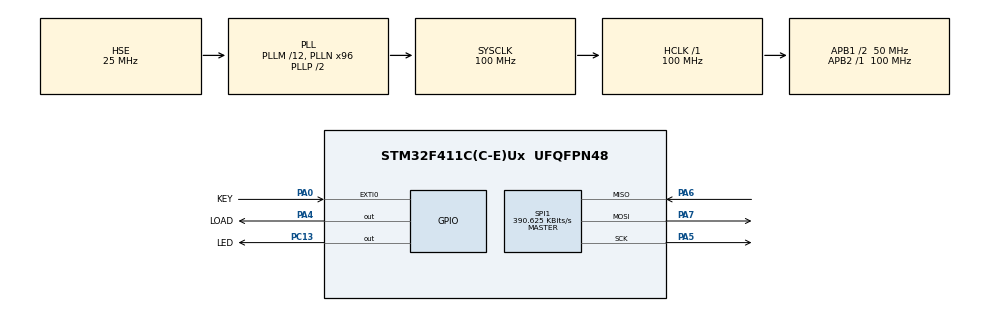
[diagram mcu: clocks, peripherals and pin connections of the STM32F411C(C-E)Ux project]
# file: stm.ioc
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Mcu.Family=STM32F4
Mcu.Name=STM32F411C(C-E)Ux
Mcu.Package=UFQFPN48
NVIC.EXTI0_IRQn=true\:0\:0\:false\:false\:true\:true\:true\:true
NVIC.PriorityGroup=NVIC_PRIORITYGROUP_4
PA0-WKUP.GPIO_Label=KEY
PA0-WKUP.GPIO_ModeDefaultEXTI=GPIO_MODE_IT_RISING
PA0-WKUP.GPIO_PuPd=GPIO_PULLUP
PA0-WKUP.Signal=GPXTI0
PA13.Mode=Serial_Wire
PA13.Signal=SYS_JTMS-SWDIO
PA14.Mode=Serial_Wire
PA14.Signal=SYS_JTCK-SWCLK
PA4.GPIO_Label=LOAD
PA4.Signal=GPIO_Output
PA5.Mode=Full_Duplex_Master
PA5.Signal=SPI1_SCK
PA6.Mode=Full_Duplex_Master
PA6.Signal=SPI1_MISO
PA7.Mode=Full_Duplex_Master
PA7.Signal=SPI1_MOSI
PC13-ANTI_TAMP.GPIO_Label=LED
PC13-ANTI_TAMP.Signal=GPIO_Output
PC14-OSC32_IN.Mode=LSE-External-Oscillator
PC14-OSC32_IN.Signal=RCC_OSC32_IN
PC15-OSC32_OUT.Mode=LSE-External-Oscillator
PC15-OSC32_OUT.Signal=RCC_OSC32_OUT
PH0\ -\ OSC_IN.Mode=HSE-External-Oscillator
PH0\ -\ OSC_IN.Signal=RCC_OSC_IN
PH1\ -\ OSC_OUT.Mode=HSE-External-Oscillator
PH1\ -\ OSC_OUT.Signal=RCC_OSC_OUT
ProjectManager.HeapSize=0x200
ProjectManager.StackSize=0x400
ProjectManager.TargetToolchain=Makefile
RCC.48MHZClocksFreq_Value=50000000
RCC.AHBFreq_Value=100000000
RCC.APB1CLKDivider=RCC_HCLK_DIV2
RCC.APB1Freq_Value=50000000
RCC.APB1TimFreq_Value=100000000
RCC.APB2Freq_Value=100000000
RCC.APB2TimFreq_Value=100000000
RCC.CortexFreq_Value=100000000
RCC.HCLKFreq_Value=100000000
RCC.HSE_VALUE=25000000
RCC.HSI_VALUE=16000000
RCC.PLLM=12
RCC.PLLN=96
RCC.PLLSourceVirtual=RCC_PLLSOURCE_HSE
RCC.SYSCLKFreq_VALUE=100000000
RCC.SYSCLKSource=RCC_SYSCLKSOURCE_PLLCLK
RCC.VCOOutputFreq_Value=200000000
SPI1.BaudRatePrescaler=SPI_BAUDRATEPRESCALER_256
SPI1.CalculateBaudRate=390.625 KBits/s
SPI1.DataSize=SPI_DATASIZE_16BIT
SPI1.Direction=SPI_DIRECTION_2LINES
SPI1.Mode=SPI_MODE_MASTER
SPI1.VirtualType=VM_MASTER
board=custom

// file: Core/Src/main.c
/* USER CODE BEGIN Header */
/**
 ******************************************************************************
 * @file           : main.c
 * @brief          : Main program body
 ******************************************************************************
 * @attention
 *
 * Copyright (c) 2024 STMicroelectronics.
 * All rights reserved.
 *
 * This software is licensed under terms that can be found in the LICENSE file
 * in the root directory of this software component.
 * If no LICENSE file comes with this software, it is provided AS-IS.
 *
 ******************************************************************************
 */
/* USER CODE END Header */
#include "main.h"

/* USER CODE BEGIN Includes */
#include "MAX7219.h"
#include "stm32f4xx_hal.h"
#include "stm32f4xx_hal_gpio.h"
#include <stdint.h>

/* USER CODE END Includes */

SPI_HandleTypeDef hspi1;

void SystemClock_Config(void);
static void MX_GPIO_Init(void);
static void MX_SPI1_Init(void);

/* USER CODE BEGIN 0 */
// standard ASCII 5x7 font

// Each five successive bytes represent the 5 columns.
// i.e. the character represented by N starts at offset 5*N

// Least significant bit in each column is the physically highest pixel (top
// line). The spare 8th bit has been filled in on some characters (but not
// necessarily all characters that might need it) to provide slightly better
// descenders on a 5x8 display.

static const uint8_t font[] = {
    0x00, 0x00, 0x00, 0x00, 0x00, 0x3E, 0x5B, 0x4F, 0x5B, 0x3E, 0x3E, 0x6B,
    0x4F, 0x6B, 0x3E, 0x1C, 0x3E, 0x7C, 0x3E, 0x1C, 0x18, 0x3C, 0x7E, 0x3C,
    0x18, 0x1C, 0x57, 0x7D, 0x57, 0x1C, 0x1C, 0x5E, 0x7F, 0x5E, 0x1C, 0x00,
    0x18, 0x3C, 0x18, 0x00, 0xFF, 0xE7, 0xC3, 0xE7, 0xFF, 0x00, 0x18, 0x24,
    0x18, 0x00, 0xFF, 0xE7, 0xDB, 0xE7, 0xFF, 0x30, 0x48, 0x3A, 0x06, 0x0E,
    0x26, 0x29, 0x79, 0x29, 0x26, 0x40, 0x7F, 0x05, 0x05, 0x07, 0x40, 0x7F,
    0x05, 0x25, 0x3F, 0x5A, 0x3C, 0xE7, 0x3C, 0x5A, 0x7F, 0x3E, 0x1C, 0x1C,
    0x08, 0x08, 0x1C, 0x1C, 0x3E, 0x7F, 0x14, 0x22, 0x7F, 0x22, 0x14, 0x5F,
    0x5F, 0x00, 0x5F, 0x5F, 0x06, 0x09, 0x7F, 0x01, 0x7F, 0x00, 0x66, 0x89,
    0x95, 0x6A, 0x60, 0x60, 0x60, 0x60, 0x60, 0x94, 0xA2, 0xFF, 0xA2, 0x94,
    0x08, 0x04, 0x7E, 0x04, 0x08, 0x10, 0x20, 0x7E, 0x20, 0x10, 0x08, 0x08,
    0x2A, 0x1C, 0x08, 0x08, 0x1C, 0x2A, 0x08, 0x08, 0x1E, 0x10, 0x10, 0x10,
    0x10, 0x0C, 0x1E, 0x0C, 0x1E, 0x0C, 0x30, 0x38, 0x3E, 0x38, 0x30, 0x06,
    0x0E, 0x3E, 0x0E, 0x06, 0x00, 0x00, 0x00, 0x00, 0x00, // Space
    0x00, 0x00, 0x5F, 0x00, 0x00, 0x00, 0x07, 0x00, 0x07, 0x00, 0x14, 0x7F,
    0x14, 0x7F, 0x14, 0x24, 0x2A, 0x7F, 0x2A, 0x12, 0x23, 0x13, 0x08, 0x64,
    0x62, 0x36, 0x49, 0x56, 0x20, 0x50, 0x00, 0x08, 0x07, 0x03, 0x00, 0x00,
    0x1C, 0x22, 0x41, 0x00, 0x00, 0x41, 0x22, 0x1C, 0x00, 0x2A, 0x1C, 0x7F,
    0x1C, 0x2A, 0x08, 0x08, 0x3E, 0x08, 0x08, 0x00, 0x80, 0x70, 0x30, 0x00,
    0x08, 0x08, 0x08, 0x08, 0x08, 0x00, 0x00, 0x60, 0x60, 0x00, 0x20, 0x10,
    0x08, 0x04, 0x02, 0x3E, 0x51, 0x49, 0x45, 0x3E, 0x00, 0x42, 0x7F, 0x40,
    0x00, 0x72, 0x49, 0x49, 0x49, 0x46, 0x21, 0x41, 0x49, 0x4D, 0x33, 0x18,
    0x14, 0x12, 0x7F, 0x10, 0x27, 0x45, 0x45, 0x45, 0x39, 0x3C, 0x4A, 0x49,
    0x49, 0x31, 0x41, 0x21, 0x11, 0x09, 0x07, 0x36, 0x49, 0x49, 0x49, 0x36,
    0x46, 0x49, 0x49, 0x29, 0x1E, 0x00, 0x00, 0x14, 0x00, 0x00, 0x00, 0x40,
    0x34, 0x00, 0x00, 0x00, 0x08, 0x14, 0x22, 0x41, 0x14, 0x14, 0x14, 0x14,
    0x14, 0x00, 0x41, 0x22, 0x14, 0x08, 0x02, 0x01, 0x59, 0x09, 0x06, 0x3E,
    0x41, 0x5D, 0x59, 0x4E, 0x7C, 0x12, 0x11, 0x12, 0x7C, 0x7F, 0x49, 0x49,
    0x49, 0x36, 0x3E, 0x41, 0x41, 0x41, 0x22, 0x7F, 0x41, 0x41, 0x41, 0x3E,
    0x7F, 0x49, 0x49, 0x49, 0x41, 0x7F, 0x09, 0x09, 0x09, 0x01, 0x3E, 0x41,
    0x41, 0x51, 0x73, 0x7F, 0x08, 0x08, 0x08, 0x7F, 0x00, 0x41, 0x7F, 0x41,
    0x00, 0x20, 0x40, 0x41, 0x3F, 0x01, 0x7F, 0x08, 0x14, 0x22, 0x41, 0x7F,
    0x40, 0x40, 0x40, 0x40, 0x7F, 0x02, 0x1C, 0x02, 0x7F, 0x7F, 0x04, 0x08,
    0x10, 0x7F, 0x3E, 0x41, 0x41, 0x41, 0x3E, 0x7F, 0x09, 0x09, 0x09, 0x06,
    0x3E, 0x41, 0x51, 0x21, 0x5E, 0x7F, 0x09, 0x19, 0x29, 0x46, 0x26, 0x49,
    0x49, 0x49, 0x32, 0x03, 0x01, 0x7F, 0x01, 0x03, 0x3F, 0x40, 0x40, 0x40,
    0x3F, 0x1F, 0x20, 0x40, 0x20, 0x1F, 0x3F, 0x40, 0x38, 0x40, 0x3F, 0x63,
    0x14, 0x08, 0x14, 0x63, 0x03, 0x04, 0x78, 0x04, 0x03, 0x61, 0x59, 0x49,
    0x4D, 0x43, 0x00, 0x7F, 0x41, 0x41, 0x41, 0x02, 0x04, 0x08, 0x10, 0x20,
    0x00, 0x41, 0x41, 0x41, 0x7F, 0x04, 0x02, 0x01, 0x02, 0x04, 0x40, 0x40,
    0x40, 0x40, 0x40, 0x00, 0x03, 0x07, 0x08, 0x00, 0x20, 0x54, 0x54, 0x78,
    0x40, 0x7F, 0x28, 0x44, 0x44, 0x38, 0x38, 0x44, 0x44, 0x44, 0x28, 0x38,
    0x44, 0x44, 0x28, 0x7F, 0x38, 0x54, 0x54, 0x54, 0x18, 0x00, 0x08, 0x7E,
    0x09, 0x02, 0x18, 0xA4, 0xA4, 0x9C, 0x78, 0x7F, 0x08, 0x04, 0x04, 0x78,
    0x00, 0x44, 0x7D, 0x40, 0x00, 0x20, 0x40, 0x40, 0x3D, 0x00, 0x7F, 0x10,
    0x28, 0x44, 0x00, 0x00, 0x41, 0x7F, 0x40, 0x00, 0x7C, 0x04, 0x78, 0x04,
    0x78, 0x7C, 0x08, 0x04, 0x04, 0x78, 0x38, 0x44, 0x44, 0x44, 0x38, 0xFC,
    0x18, 0x24, 0x24, 0x18, 0x18, 0x24, 0x24, 0x18, 0xFC, 0x7C, 0x08, 0x04,
    0x04, 0x08, 0x48, 0x54, 0x54, 0x54, 0x24, 0x04, 0x04, 0x3F, 0x44, 0x24,
    0x3C, 0x40, 0x40, 0x20, 0x7C, 0x1C, 0x20, 0x40, 0x20, 0x1C, 0x3C, 0x40,
    0x30, 0x40, 0x3C, 0x44, 0x28, 0x10, 0x28, 0x44, 0x4C, 0x90, 0x90, 0x90,
    0x7C, 0x44, 0x64, 0x54, 0x4C, 0x44, 0x00, 0x08, 0x36, 0x41, 0x00, 0x00,
    0x00, 0x77, 0x00, 0x00, 0x00, 0x41, 0x36, 0x08, 0x00, 0x02, 0x01, 0x02,
    0x04, 0x02, 0x3C, 0x26, 0x23, 0x26, 0x3C, 0x1E, 0xA1, 0xA1, 0x61, 0x12,
    0x3A, 0x40, 0x40, 0x20, 0x7A, 0x38, 0x54, 0x54, 0x55, 0x59, 0x21, 0x55,
    0x55, 0x79, 0x41, 0x21, 0x54, 0x54, 0x78, 0x41, 0x21, 0x55, 0x54, 0x78,
    0x40, 0x20, 0x54, 0x55, 0x79, 0x40, 0x0C, 0x1E, 0x52, 0x72, 0x12, 0x39,
    0x55, 0x55, 0x55, 0x59, 0x39, 0x54, 0x54, 0x54, 0x59, 0x39, 0x55, 0x54,
    0x54, 0x58, 0x00, 0x00, 0x45, 0x7C, 0x41, 0x00, 0x02, 0x45, 0x7D, 0x42,
    0x00, 0x01, 0x45, 0x7C, 0x40, 0xF0, 0x29, 0x24, 0x29, 0xF0, 0xF0, 0x28,
    0x25, 0x28, 0xF0, 0x7C, 0x54, 0x55, 0x45, 0x00, 0x20, 0x54, 0x54, 0x7C,
    0x54, 0x7C, 0x0A, 0x09, 0x7F, 0x49, 0x32, 0x49, 0x49, 0x49, 0x32, 0x32,
    0x48, 0x48, 0x48, 0x32, 0x32, 0x4A, 0x48, 0x48, 0x30, 0x3A, 0x41, 0x41,
    0x21, 0x7A, 0x3A, 0x42, 0x40, 0x20, 0x78, 0x00, 0x9D, 0xA0, 0xA0, 0x7D,
    0x39, 0x44, 0x44, 0x44, 0x39, 0x3D, 0x40, 0x40, 0x40, 0x3D, 0x3C, 0x24,
    0xFF, 0x24, 0x24, 0x48, 0x7E, 0x49, 0x43, 0x66, 0x2B, 0x2F, 0xFC, 0x2F,
    0x2B, 0xFF, 0x09, 0x29, 0xF6, 0x20, 0xC0, 0x88, 0x7E, 0x09, 0x03, 0x20,
    0x54, 0x54, 0x79, 0x41, 0x00, 0x00, 0x44, 0x7D, 0x41, 0x30, 0x48, 0x48,
    0x4A, 0x32, 0x38, 0x40, 0x40, 0x22, 0x7A, 0x00, 0x7A, 0x0A, 0x0A, 0x72,
    0x7D, 0x0D, 0x19, 0x31, 0x7D, 0x26, 0x29, 0x29, 0x2F, 0x28, 0x26, 0x29,
    0x29, 0x29, 0x26, 0x30, 0x48, 0x4D, 0x40, 0x20, 0x38, 0x08, 0x08, 0x08,
    0x08, 0x08, 0x08, 0x08, 0x08, 0x38, 0x2F, 0x10, 0xC8, 0xAC, 0xBA, 0x2F,
    0x10, 0x28, 0x34, 0xFA, 0x00, 0x00, 0x7B, 0x00, 0x00, 0x08, 0x14, 0x2A,
    0x14, 0x22, 0x22, 0x14, 0x2A, 0x14, 0x08, 0xAA, 0x00, 0x55, 0x00, 0xAA,
    0xAA, 0x55, 0xAA, 0x55, 0xAA, 0x00, 0x00, 0x00, 0xFF, 0x00, 0x10, 0x10,
    0x10, 0xFF, 0x00, 0x14, 0x14, 0x14, 0xFF, 0x00, 0x10, 0x10, 0xFF, 0x00,
    0xFF, 0x10, 0x10, 0xF0, 0x10, 0xF0, 0x14, 0x14, 0x14, 0xFC, 0x00, 0x14,
    0x14, 0xF7, 0x00, 0xFF, 0x00, 0x00, 0xFF, 0x00, 0xFF, 0x14, 0x14, 0xF4,
    0x04, 0xFC, 0x14, 0x14, 0x17, 0x10, 0x1F, 0x10, 0x10, 0x1F, 0x10, 0x1F,
    0x14, 0x14, 0x14, 0x1F, 0x00, 0x10, 0x10, 0x10, 0xF0, 0x00, 0x00, 0x00,
    0x00, 0x1F, 0x10, 0x10, 0x10, 0x10, 0x1F, 0x10, 0x10, 0x10, 0x10, 0xF0,
    0x10, 0x00, 0x00, 0x00, 0xFF, 0x10, 0x10, 0x10, 0x10, 0x10, 0x10, 0x10,
    0x10, 0x10, 0xFF, 0x10, 0x00, 0x00, 0x00, 0xFF, 0x14, 0x00, 0x00, 0xFF,
    0x00, 0xFF, 0x00, 0x00, 0x1F, 0x10, 0x17, 0x00, 0x00, 0xFC, 0x04, 0xF4,
    0x14, 0x14, 0x17, 0x10, 0x17, 0x14, 0x14, 0xF4, 0x04, 0xF4, 0x00, 0x00,
    0xFF, 0x00, 0xF7, 0x14, 0x14, 0x14, 0x14, 0x14, 0x14, 0x14, 0xF7, 0x00,
    0xF7, 0x14, 0x14, 0x14, 0x17, 0x14, 0x10, 0x10, 0x1F, 0x10, 0x1F, 0x14,
    0x14, 0x14, 0xF4, 0x14, 0x10, 0x10, 0xF0, 0x10, 0xF0, 0x00, 0x00, 0x1F,
    0x10, 0x1F, 0x00, 0x00, 0x00, 0x1F, 0x14, 0x00, 0x00, 0x00, 0xFC, 0x14,
    0x00, 0x00, 0xF0, 0x10, 0xF0, 0x10, 0x10, 0xFF, 0x10, 0xFF, 0x14, 0x14,
    0x14, 0xFF, 0x14, 0x10, 0x10, 0x10, 0x1F, 0x00, 0x00, 0x00, 0x00, 0xF0,
    0x10, 0xFF, 0xFF, 0xFF, 0xFF, 0xFF, 0xF0, 0xF0, 0xF0, 0xF0, 0xF0, 0xFF,
    0xFF, 0xFF, 0x00, 0x00, 0x00, 0x00, 0x00, 0xFF, 0xFF, 0x0F, 0x0F, 0x0F,
    0x0F, 0x0F, 0x38, 0x44, 0x44, 0x38, 0x44, 0x7C, 0x2A, 0x2A, 0x3E, 0x14,
    0x7E, 0x02, 0x02, 0x06, 0x06, 0x02, 0x7E, 0x02, 0x7E, 0x02, 0x63, 0x55,
    0x49, 0x41, 0x63, 0x38, 0x44, 0x44, 0x3C, 0x04, 0x40, 0x7E, 0x20, 0x1E,
    0x20, 0x06, 0x02, 0x7E, 0x02, 0x02, 0x99, 0xA5, 0xE7, 0xA5, 0x99, 0x1C,
    0x2A, 0x49, 0x2A, 0x1C, 0x4C, 0x72, 0x01, 0x72, 0x4C, 0x30, 0x4A, 0x4D,
    0x4D, 0x30, 0x30, 0x48, 0x78, 0x48, 0x30, 0xBC, 0x62, 0x5A, 0x46, 0x3D,
    0x3E, 0x49, 0x49, 0x49, 0x00, 0x7E, 0x01, 0x01, 0x01, 0x7E, 0x2A, 0x2A,
    0x2A, 0x2A, 0x2A, 0x44, 0x44, 0x5F, 0x44, 0x44, 0x40, 0x51, 0x4A, 0x44,
    0x40, 0x40, 0x44, 0x4A, 0x51, 0x40, 0x00, 0x00, 0xFF, 0x01, 0x03, 0xE0,
    0x80, 0xFF, 0x00, 0x00, 0x08, 0x08, 0x6B, 0x6B, 0x08, 0x36, 0x12, 0x36,
    0x24, 0x36, 0x06, 0x0F, 0x09, 0x0F, 0x06, 0x00, 0x00, 0x18, 0x18, 0x00,
    0x00, 0x00, 0x10, 0x10, 0x00, 0x30, 0x40, 0xFF, 0x01, 0x01, 0x00, 0x1F,
    0x01, 0x01, 0x1E, 0x00, 0x19, 0x1D, 0x17, 0x12, 0x00, 0x3C, 0x3C, 0x3C,
    0x3C, 0x00, 0x00, 0x00, 0x00, 0x00,
};

void show_char(char c) {
  set_leds(0, font[c * 5]);
  set_leds(1, font[c * 5 + 1]);
  set_leds(2, font[c * 5 + 2]);
  set_leds(3, font[c * 5 + 3]);
  set_leds(4, font[c * 5 + 4]);
}

void set_screen(uint8_t *db) {
  set_leds(0, db[0]);
  set_leds(1, db[1]);
  set_leds(2, db[2]);
  set_leds(3, db[3]);
  set_leds(4, db[4]);
  set_leds(5, db[5]);
  set_leds(6, db[6]);
  set_leds(7, db[7]);
}
#define SIZE_OF_DB 20
void shift_buffer(uint8_t *db) { memcpy(db, db + 1, SIZE_OF_DB - 1); }

uint8_t fo[] = {"  Fuck off.  \0"};
uint8_t time[] = {"  Is this the best use of my time right now?  \0"};
uint8_t offon[] = {"  Have you tried turning it off and on again?  \0"};

uint8_t *msgs[] = {time, offon, fo};

uint8_t _msg_id = 0;

void HAL_GPIO_EXTI_Callback(uint16_t GPIO_Pin) {
  HAL_GPIO_TogglePin(LED_GPIO_Port, LED_Pin);
  _msg_id++;
  _msg_id %= 3;
}
/* USER CODE END 0 */

int main(void) {
  /* USER CODE BEGIN 1 */
  uint8_t msg_id = 0;
  /* USER CODE END 1 */

  /* MCU Configuration--------------------------------------------------------*/

  /* Reset of all peripherals, Initializes the Flash interface and the Systick.
   */
  HAL_Init();

  /* Configure the system clock */
  SystemClock_Config();

  /* Initialize all configured peripherals */
  MX_GPIO_Init();
  MX_SPI1_Init();
  /* USER CODE BEGIN 2 */
  // enable display test
  display_test(0x0);
  set_scan_limit();
  for (uint8_t i = 0; i < 8; i++) {
    set_leds(i, 0x0);
  }
  set_display_on(1);
  if (HAL_GPIO_ReadPin(KEY_GPIO_Port, KEY_Pin) == GPIO_PIN_RESET) {
    while (1) {
      for (uint8_t i = 0; i < 8; i++) {
        for (uint8_t j = 0; j < 8; j++) {
          set_leds(i, 1 << j);
          HAL_Delay(500);
        }
        set_leds(i, 0);
      }
    }
  }
  /* USER CODE END 2 */

  /* Infinite loop */
  /* USER CODE BEGIN WHILE */
  HAL_Delay(250);
  _msg_id = 0;
  HAL_NVIC_SetPriority(EXTI0_IRQn, 0, 0);
  HAL_NVIC_EnableIRQ(EXTI0_IRQn);
  while (1) {
    msg_id = _msg_id;
    uint8_t *msg = msgs[msg_id];
    uint8_t display_buffer[SIZE_OF_DB] = {0};

    for (uint8_t i = 0; i < strlen(msg) - 2; i++) {
      // store two chars in the buffer
      memcpy(display_buffer, &font[5 * msg[i]], 5);
      display_buffer[5] = 0x00; // gap
      memcpy(display_buffer + 6, &font[5 * msg[i + 1]], 5);
      display_buffer[11] = 0x00; // gap
      memcpy(display_buffer + 12, &font[5 * msg[i + 2]], 5);

      for (uint8_t j = 0; j < 6; j++) {
        // scroll the letters
        set_screen(display_buffer);
        HAL_Delay(150);
        shift_buffer(display_buffer);
        if (msg_id != _msg_id)
          break;
      }

      if (msg_id != _msg_id)
        break;
    }

    //   }
    //   set_leds(i, 0);
    // }
    /* USER CODE END WHILE */

  }
}

void SystemClock_Config(void) {
  RCC_OscInitTypeDef RCC_OscInitStruct = {0};
  RCC_ClkInitTypeDef RCC_ClkInitStruct = {0};

  /** Configure the main internal regulator output voltage
   */
  __HAL_RCC_PWR_CLK_ENABLE();
  __HAL_PWR_VOLTAGESCALING_CONFIG(PWR_REGULATOR_VOLTAGE_SCALE1);

  /** Initializes the RCC Oscillators according to the specified parameters
   * in the RCC_OscInitTypeDef structure.
   */
  RCC_OscInitStruct.OscillatorType = RCC_OSCILLATORTYPE_HSE;
  RCC_OscInitStruct.HSEState = RCC_HSE_ON;
  RCC_OscInitStruct.PLL.PLLState = RCC_PLL_ON;
  RCC_OscInitStruct.PLL.PLLSource = RCC_PLLSOURCE_HSE;
  RCC_OscInitStruct.PLL.PLLM = 12;
  RCC_OscInitStruct.PLL.PLLN = 96;
  RCC_OscInitStruct.PLL.PLLP = RCC_PLLP_DIV2;
  RCC_OscInitStruct.PLL.PLLQ = 4;
  if (HAL_RCC_OscConfig(&RCC_OscInitStruct) != HAL_OK) {
    Error_Handler();
  }

  /** Initializes the CPU, AHB and APB buses clocks
   */
  RCC_ClkInitStruct.ClockType = RCC_CLOCKTYPE_HCLK | RCC_CLOCKTYPE_SYSCLK |
                                RCC_CLOCKTYPE_PCLK1 | RCC_CLOCKTYPE_PCLK2;
  RCC_ClkInitStruct.SYSCLKSource = RCC_SYSCLKSOURCE_PLLCLK;
  RCC_ClkInitStruct.AHBCLKDivider = RCC_SYSCLK_DIV1;
  RCC_ClkInitStruct.APB1CLKDivider = RCC_HCLK_DIV2;
  RCC_ClkInitStruct.APB2CLKDivider = RCC_HCLK_DIV1;

  if (HAL_RCC_ClockConfig(&RCC_ClkInitStruct, FLASH_LATENCY_3) != HAL_OK) {
    Error_Handler();
  }
}

static void MX_SPI1_Init(void) {

  /* SPI1 parameter configuration*/
  hspi1.Instance = SPI1;
  hspi1.Init.Mode = SPI_MODE_MASTER;
  hspi1.Init.Direction = SPI_DIRECTION_2LINES;
  hspi1.Init.DataSize = SPI_DATASIZE_16BIT;
  hspi1.Init.CLKPolarity = SPI_POLARITY_LOW;
  hspi1.Init.CLKPhase = SPI_PHASE_1EDGE;
  hspi1.Init.NSS = SPI_NSS_SOFT;
  hspi1.Init.BaudRatePrescaler = SPI_BAUDRATEPRESCALER_256;
  hspi1.Init.FirstBit = SPI_FIRSTBIT_MSB;
  hspi1.Init.TIMode = SPI_TIMODE_DISABLE;
  hspi1.Init.CRCCalculation = SPI_CRCCALCULATION_DISABLE;
  hspi1.Init.CRCPolynomial = 10;
  if (HAL_SPI_Init(&hspi1) != HAL_OK) {
    Error_Handler();
  }
}

static void MX_GPIO_Init(void) {
  GPIO_InitTypeDef GPIO_InitStruct = {0};

  /* GPIO Ports Clock Enable */
  __HAL_RCC_GPIOC_CLK_ENABLE();
  __HAL_RCC_GPIOH_CLK_ENABLE();
  __HAL_RCC_GPIOA_CLK_ENABLE();

  /*Configure GPIO pin Output Level */
  HAL_GPIO_WritePin(LED_GPIO_Port, LED_Pin, GPIO_PIN_RESET);

  /*Configure GPIO pin Output Level */
  HAL_GPIO_WritePin(LOAD_GPIO_Port, LOAD_Pin, GPIO_PIN_RESET);

  /*Configure GPIO pin : LED_Pin */
  GPIO_InitStruct.Pin = LED_Pin;
  GPIO_InitStruct.Mode = GPIO_MODE_OUTPUT_PP;
  GPIO_InitStruct.Pull = GPIO_NOPULL;
  GPIO_InitStruct.Speed = GPIO_SPEED_FREQ_LOW;
  HAL_GPIO_Init(LED_GPIO_Port, &GPIO_InitStruct);

  /*Configure GPIO pin : KEY_Pin */
  GPIO_InitStruct.Pin = KEY_Pin;
  GPIO_InitStruct.Mode = GPIO_MODE_IT_RISING;
  GPIO_InitStruct.Pull = GPIO_PULLUP;
  HAL_GPIO_Init(KEY_GPIO_Port, &GPIO_InitStruct);

  /*Configure GPIO pin : LOAD_Pin */
  GPIO_InitStruct.Pin = LOAD_Pin;
  GPIO_InitStruct.Mode = GPIO_MODE_OUTPUT_PP;
  GPIO_InitStruct.Pull = GPIO_NOPULL;
  GPIO_InitStruct.Speed = GPIO_SPEED_FREQ_LOW;
  HAL_GPIO_Init(LOAD_GPIO_Port, &GPIO_InitStruct);

  /* EXTI interrupt init*/
  HAL_NVIC_SetPriority(EXTI0_IRQn, 0, 0);
  HAL_NVIC_EnableIRQ(EXTI0_IRQn);

}

void Error_Handler(void) {
  __disable_irq();
  while (1) {
  }
}

#ifdef USE_FULL_ASSERT
/**
 * @brief  Reports the name of the source file and the source line number
 *         where the assert_param error has occurred.
 * @param  file: pointer to the source file name
 * @param  line: assert_param error line source number
 * @retval None
 */
void assert_failed(uint8_t *file, uint32_t line) {
  /* USER CODE BEGIN 6 */
  /* User can add his own implementation to report the file name and line
     number, ex: printf("Wrong parameters value: file %s on line %d\r\n", file,
     line) */
  /* USER CODE END 6 */
}
#endif /* USE_FULL_ASSERT */
